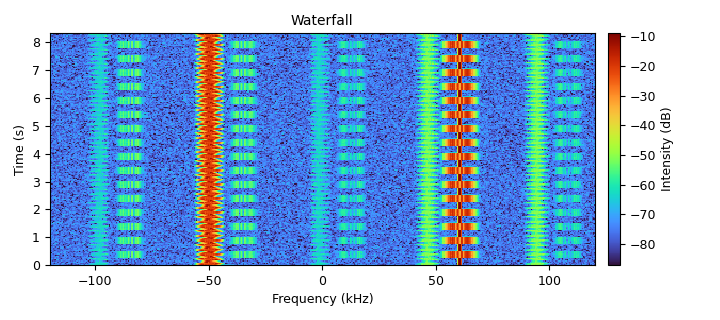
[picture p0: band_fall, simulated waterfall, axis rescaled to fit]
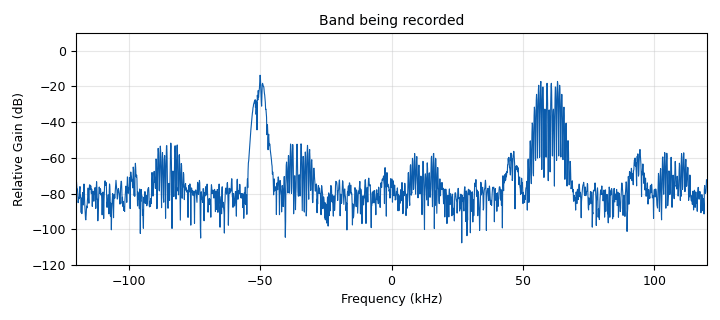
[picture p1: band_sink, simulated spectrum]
options:
  parameters:
    author: GNU Radio Intro Workshop
    description: Two narrowband FM stations at -50 kHz and +60 kHz, recorded to fm_band.cfile
    generate_options: qt_gui
    generator_class_name: PythonQtGuiGenerator
    generator_module: gnuradio.grc.workflows.python_qt_gui
    id: fm_band_recorder
    output_language: python
    title: FM Band Recorder
  states: {}

blocks:
- name: audio_rate
  id: variable
  parameters:
    value: '48000'
  states: {}
- name: recording
  id: variable
  parameters:
    value: '"fm_band.cfile"'
  states: {}
- name: samp_rate
  id: variable
  parameters:
    value: '240000'
  states: {}
- name: band
  id: blocks_add_xx
  parameters:
    num_inputs: '3'
    type: complex
  states: {}
- name: band_fall
  id: qtgui_waterfall_sink_x
  parameters:
    bw: samp_rate
    fc: '0'
    fftsize: '1024'
    gui_hint: 1,0,1,1
    int_max: '-20'
    int_min: '-110'
    name: '"Waterfall"'
    type: complex
  states: {}
- name: band_sink
  id: qtgui_freq_sink_x
  parameters:
    bw: samp_rate
    fc: '0'
    fftsize: '2048'
    gui_hint: 0,0,1,1
    name: '"Band being recorded"'
    type: complex
    ymin: '-120'
  states: {}
- name: beep_gate
  id: analog_sig_source_x
  parameters:
    amp: '1'
    freq: '2'
    offset: '0'
    phase: '0'
    samp_rate: audio_rate
    type: float
    waveform: analog.GR_SQR_WAVE
  states: {}
- name: beep_tone
  id: analog_sig_source_x
  parameters:
    amp: '0.8'
    freq: '800'
    offset: '0'
    phase: '0'
    samp_rate: audio_rate
    type: float
    waveform: analog.GR_COS_WAVE
  states: {}
- name: beeps
  id: blocks_multiply_xx
  parameters:
    type: float
  states: {}
- name: dial_tone
  id: blocks_add_xx
  parameters:
    type: float
  states: {}
- name: file_sink
  id: blocks_file_sink
  parameters:
    file: recording
    type: complex
  states: {}
- name: fm_a
  id: analog_nbfm_tx
  parameters:
    audio_rate: audio_rate
    fh: '-1.0'
    max_dev: '5000.0'
    quad_rate: samp_rate
    tau: '7.5e-05'
  states: {}
- name: fm_b
  id: analog_nbfm_tx
  parameters:
    audio_rate: audio_rate
    fh: '-1.0'
    max_dev: '5000.0'
    quad_rate: samp_rate
    tau: '7.5e-05'
  states: {}
- name: lo_a
  id: analog_sig_source_x
  parameters:
    amp: '1'
    freq: '-50000'
    offset: '0'
    phase: '0'
    samp_rate: samp_rate
    type: complex
    waveform: analog.GR_COS_WAVE
  states: {}
- name: lo_b
  id: analog_sig_source_x
  parameters:
    amp: '1'
    freq: '60000'
    offset: '0'
    phase: '0'
    samp_rate: samp_rate
    type: complex
    waveform: analog.GR_COS_WAVE
  states: {}
- name: noise
  id: analog_noise_source_x
  parameters:
    amp: '0.01'
    noise_type: analog.GR_GAUSSIAN
    seed: '0'
    type: complex
  states: {}
- name: shift_a
  id: blocks_multiply_xx
  parameters:
    type: complex
  states: {}
- name: shift_b
  id: blocks_multiply_xx
  parameters:
    type: complex
  states: {}
- name: throttle
  id: blocks_throttle2
  parameters:
    samples_per_second: samp_rate
    type: complex
  states: {}
- name: tone_350
  id: analog_sig_source_x
  parameters:
    amp: '0.4'
    freq: '350'
    offset: '0'
    phase: '0'
    samp_rate: audio_rate
    type: float
    waveform: analog.GR_COS_WAVE
  states: {}
- name: tone_440
  id: analog_sig_source_x
  parameters:
    amp: '0.4'
    freq: '440'
    offset: '0'
    phase: '0'
    samp_rate: audio_rate
    type: float
    waveform: analog.GR_COS_WAVE
  states: {}

connections:
- [band, '0', throttle, '0']
- [beep_gate, '0', beeps, '1']
- [beep_tone, '0', beeps, '0']
- [beeps, '0', fm_b, '0']
- [dial_tone, '0', fm_a, '0']
- [fm_a, '0', shift_a, '0']
- [fm_b, '0', shift_b, '0']
- [lo_a, '0', shift_a, '1']
- [lo_b, '0', shift_b, '1']
- [noise, '0', band, '1']
- [shift_a, '0', band, '0']
- [shift_b, '0', band, '2']
- [throttle, '0', band_fall, '0']
- [throttle, '0', band_sink, '0']
- [throttle, '0', file_sink, '0']
- [tone_350, '0', dial_tone, '0']
- [tone_440, '0', dial_tone, '1']

metadata:
  file_format: 1
  grc_version: v3.11.0.0git-1029-g3c48f5e2
